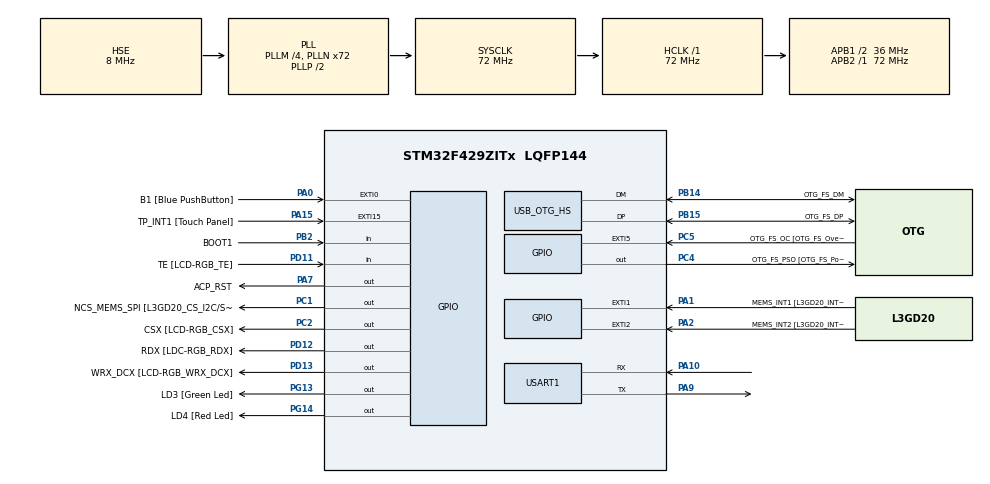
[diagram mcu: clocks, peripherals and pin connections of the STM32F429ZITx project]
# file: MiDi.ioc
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FREERTOS.Tasks01=defaultTask,0,128,StartDefaultTask,Default,NULL
Mcu.Family=STM32F4
Mcu.Name=STM32F429ZITx
Mcu.Package=LQFP144
NVIC.OTG_HS_IRQn=true\:5\:0\:false\:false\:true\:true\:false
NVIC.PriorityGroup=NVIC_PRIORITYGROUP_4
NVIC.TIM6_DAC_IRQn=true\:0\:0\:false\:false\:true\:false\:false
NVIC.TimeBase=TIM6_DAC_IRQn
NVIC.TimeBaseIP=TIM6
PA0/WKUP.GPIO_Label=B1 [Blue PushButton]
PA0/WKUP.GPIO_ModeDefaultEXTI=GPIO_MODE_EVT_RISING
PA0/WKUP.GPIO_PuPd=GPIO_NOPULL
PA0/WKUP.Signal=GPXTI0
PA1.GPIO_Label=MEMS_INT1 [L3GD20_INT1]
PA1.GPIO_ModeDefaultEXTI=GPIO_MODE_EVT_RISING
PA1.GPIO_PuPd=GPIO_NOPULL
PA1.Signal=GPXTI1
PA10.Mode=Asynchronous
PA10.Signal=USART1_RX
PA11.GPIO_Label=R4
PA11.GPIO_Mode=GPIO_MODE_AF_PP
PA11.GPIO_PuPd=GPIO_NOPULL
PA11.GPIO_Speed=GPIO_SPEED_FREQ_LOW
PA11.Signal=LTDC_R4
PA12.GPIO_Label=R5
PA12.GPIO_Mode=GPIO_MODE_AF_PP
PA12.GPIO_PuPd=GPIO_NOPULL
PA12.GPIO_Speed=GPIO_SPEED_FREQ_LOW
PA12.Signal=LTDC_R5
PA13.GPIO_Label=SWDIO
PA13.Mode=Serial_Wire
PA13.Signal=SYS_JTMS-SWDIO
PA14.GPIO_Label=SWCLK
PA14.Mode=Serial_Wire
PA14.Signal=SYS_JTCK-SWCLK
PA15.GPIO_Label=TP_INT1 [Touch Panel]
PA15.GPIO_ModeDefaultEXTI=GPIO_MODE_EVT_RISING
PA15.GPIO_PuPd=GPIO_NOPULL
PA15.Signal=GPXTI15
PA2.GPIO_Label=MEMS_INT2 [L3GD20_INT2]
PA2.GPIO_ModeDefaultEXTI=GPIO_MODE_EVT_RISING
PA2.GPIO_PuPd=GPIO_NOPULL
PA2.Signal=GPXTI2
PA3.GPIO_Label=B5
PA3.GPIO_Mode=GPIO_MODE_AF_PP
PA3.GPIO_PuPd=GPIO_NOPULL
PA3.GPIO_Speed=GPIO_SPEED_FREQ_LOW
PA3.Signal=LTDC_B5
PA4.GPIO_Label=VSYNC
PA4.GPIO_Mode=GPIO_MODE_AF_PP
PA4.GPIO_PuPd=GPIO_NOPULL
PA4.GPIO_Speed=GPIO_SPEED_FREQ_LOW
PA4.Signal=LTDC_VSYNC
PA6.GPIO_Label=G2
PA6.GPIO_Mode=GPIO_MODE_AF_PP
PA6.GPIO_PuPd=GPIO_NOPULL
PA6.GPIO_Speed=GPIO_SPEED_FREQ_LOW
PA6.Signal=LTDC_G2
PA7.GPIO_Label=ACP_RST
PA7.GPIO_Mode=GPIO_MODE_OUTPUT_PP
PA7.GPIO_PuPd=GPIO_NOPULL
PA7.GPIO_Speed=GPIO_SPEED_FREQ_LOW
PA7.Signal=GPIO_Output
PA8.GPIO_Label=I2C3_SCL [ACP/RF_SCL]
PA8.GPIO_Mode=GPIO_MODE_AF_OD
PA8.GPIO_PuPd=GPIO_NOPULL
PA8.GPIO_Speed=GPIO_SPEED_FREQ_LOW
PA8.Signal=I2C3_SCL
PA9.Mode=Asynchronous
PA9.Signal=USART1_TX
PB0.GPIO_Label=R3
PB0.GPIO_Mode=GPIO_MODE_AF_PP
PB0.GPIO_PuPd=GPIO_NOPULL
PB0.GPIO_Speed=GPIO_SPEED_FREQ_LOW
PB0.Signal=LTDC_R3
PB1.GPIO_Label=R6
PB1.GPIO_Mode=GPIO_MODE_AF_PP
PB1.GPIO_PuPd=GPIO_NOPULL
PB1.GPIO_Speed=GPIO_SPEED_FREQ_LOW
PB1.Signal=LTDC_R6
PB10.GPIO_Label=G4
PB10.GPIO_Mode=GPIO_MODE_AF_PP
PB10.GPIO_PuPd=GPIO_NOPULL
PB10.GPIO_Speed=GPIO_SPEED_FREQ_LOW
PB10.Signal=LTDC_G4
PB11.GPIO_Label=G5
PB11.GPIO_Mode=GPIO_MODE_AF_PP
PB11.GPIO_PuPd=GPIO_NOPULL
PB11.GPIO_Speed=GPIO_SPEED_FREQ_LOW
PB11.Signal=LTDC_G5
PB12.GPIO_Label=OTG_FS_ID
PB12.GPIO_Mode=GPIO_MODE_AF_PP
PB12.GPIO_PuPd=GPIO_NOPULL
PB12.GPIO_Speed=GPIO_SPEED_FREQ_LOW
PB12.Signal=USB_OTG_HS_ID
PB13.GPIO_Label=VBUS_FS
PB13.GPIO_Mode=GPIO_MODE_INPUT
PB13.GPIO_PuPd=GPIO_NOPULL
PB13.Signal=USB_OTG_HS_VBUS
PB14.GPIO_Label=OTG_FS_DM
PB14.GPIO_Mode=GPIO_MODE_AF_PP
PB14.GPIO_PuPd=GPIO_NOPULL
PB14.GPIO_Speed=GPIO_SPEED_FREQ_LOW
PB14.Mode=Device_Only_FS
PB14.Signal=USB_OTG_HS_DM
PB15.GPIO_Label=OTG_FS_DP
PB15.GPIO_Mode=GPIO_MODE_AF_PP
PB15.GPIO_PuPd=GPIO_NOPULL
PB15.GPIO_Speed=GPIO_SPEED_FREQ_LOW
PB15.Mode=Device_Only_FS
PB15.Signal=USB_OTG_HS_DP
PB2/BOOT1.GPIO_Label=BOOT1
PB2/BOOT1.GPIO_Mode=GPIO_MODE_INPUT
PB2/BOOT1.GPIO_PuPd=GPIO_NOPULL
PB2/BOOT1.Signal=GPIO_Input
PB5.GPIO_Label=SDCKE1
PB5.GPIO_Mode=GPIO_MODE_AF_PP
PB5.GPIO_PuPd=GPIO_NOPULL
PB5.GPIO_Speed=GPIO_SPEED_FREQ_VERY_HIGH
PB5.Signal=FMC_SDCKE1
PB6.GPIO_Label=SDNE1 [SDRAM_CS]
PB6.GPIO_Mode=GPIO_MODE_AF_PP
PB6.GPIO_PuPd=GPIO_NOPULL
PB6.GPIO_Speed=GPIO_SPEED_FREQ_VERY_HIGH
PB6.Signal=FMC_SDNE1
PB8.GPIO_Label=B6
PB8.GPIO_Mode=GPIO_MODE_AF_PP
PB8.GPIO_PuPd=GPIO_NOPULL
PB8.GPIO_Speed=GPIO_SPEED_FREQ_LOW
PB8.Signal=LTDC_B6
PB9.GPIO_Label=B7
PB9.GPIO_Mode=GPIO_MODE_AF_PP
PB9.GPIO_PuPd=GPIO_NOPULL
PB9.GPIO_Speed=GPIO_SPEED_FREQ_LOW
PB9.Signal=LTDC_B7
PC0.GPIO_Label=SDNWE
PC0.GPIO_Mode=GPIO_MODE_AF_PP
PC0.GPIO_PuPd=GPIO_NOPULL
PC0.GPIO_Speed=GPIO_SPEED_FREQ_VERY_HIGH
PC0.Signal=FMC_SDNWE
PC1.GPIO_Label=NCS_MEMS_SPI [L3GD20_CS_I2C/SPI]
PC1.GPIO_Mode=GPIO_MODE_OUTPUT_PP
PC1.GPIO_PuPd=GPIO_NOPULL
PC1.GPIO_Speed=GPIO_SPEED_FREQ_LOW
PC1.Signal=GPIO_Output
PC10.GPIO_Label=R2
PC10.GPIO_Mode=GPIO_MODE_AF_PP
PC10.GPIO_PuPd=GPIO_NOPULL
PC10.GPIO_Speed=GPIO_SPEED_FREQ_LOW
PC10.Signal=LTDC_R2
PC14/OSC32_IN.GPIO_Label=PC14-OSC32_IN
PC14/OSC32_IN.Signal=RCC_OSC32_IN
PC15/OSC32_OUT.GPIO_Label=PC15-OSC32_OUT
PC15/OSC32_OUT.Signal=RCC_OSC32_OUT
PC2.GPIO_Label=CSX [LCD-RGB_CSX]
PC2.GPIO_Mode=GPIO_MODE_OUTPUT_PP
PC2.GPIO_PuPd=GPIO_NOPULL
PC2.GPIO_Speed=GPIO_SPEED_FREQ_LOW
PC2.Signal=GPIO_Output
PC4.GPIO_Label=OTG_FS_PSO [OTG_FS_PowerSwitchOn]
PC4.GPIO_Mode=GPIO_MODE_OUTPUT_PP
PC4.GPIO_PuPd=GPIO_NOPULL
PC4.GPIO_Speed=GPIO_SPEED_FREQ_LOW
PC4.Signal=GPIO_Output
PC5.GPIO_Label=OTG_FS_OC [OTG_FS_OverCurrent]
PC5.GPIO_ModeDefaultEXTI=GPIO_MODE_EVT_RISING
PC5.Signal=GPXTI5
PC6.GPIO_Label=HSYNC
PC6.GPIO_Mode=GPIO_MODE_AF_PP
PC6.GPIO_PuPd=GPIO_NOPULL
PC6.GPIO_Speed=GPIO_SPEED_FREQ_LOW
PC6.Signal=LTDC_HSYNC
PC7.GPIO_Label=G6
PC7.GPIO_Mode=GPIO_MODE_AF_PP
PC7.GPIO_PuPd=GPIO_NOPULL
PC7.GPIO_Speed=GPIO_SPEED_FREQ_LOW
PC7.Signal=LTDC_G6
PC9.GPIO_Label=I2C3_SDA [ACP/RF_SDA]
PC9.GPIO_Mode=GPIO_MODE_AF_OD
PC9.GPIO_PuPd=GPIO_NOPULL
PC9.GPIO_Speed=GPIO_SPEED_FREQ_LOW
PC9.Signal=I2C3_SDA
PD0.GPIO_Label=D2
PD0.GPIO_Mode=GPIO_MODE_AF_PP
PD0.GPIO_PuPd=GPIO_NOPULL
PD0.GPIO_Speed=GPIO_SPEED_FREQ_VERY_HIGH
PD0.Signal=FMC_D2_DA2
PD1.GPIO_Label=D3
PD1.GPIO_Mode=GPIO_MODE_AF_PP
PD1.GPIO_PuPd=GPIO_NOPULL
PD1.GPIO_Speed=GPIO_SPEED_FREQ_VERY_HIGH
PD1.Signal=FMC_D3_DA3
PD10.GPIO_Label=D15
PD10.GPIO_Mode=GPIO_MODE_AF_PP
PD10.GPIO_PuPd=GPIO_NOPULL
PD10.GPIO_Speed=GPIO_SPEED_FREQ_VERY_HIGH
PD10.Signal=FMC_D15_DA15
PD11.GPIO_Label=TE [LCD-RGB_TE]
PD11.GPIO_Mode=GPIO_MODE_INPUT
PD11.GPIO_PuPd=GPIO_NOPULL
PD11.Signal=GPIO_Input
PD12.GPIO_Label=RDX [LDC-RGB_RDX]
PD12.GPIO_Mode=GPIO_MODE_OUTPUT_PP
PD12.GPIO_PuPd=GPIO_NOPULL
PD12.GPIO_Speed=GPIO_SPEED_FREQ_LOW
PD12.Signal=GPIO_Output
PD13.GPIO_Label=WRX_DCX [LCD-RGB_WRX_DCX]
PD13.GPIO_Mode=GPIO_MODE_OUTPUT_PP
PD13.GPIO_PuPd=GPIO_NOPULL
PD13.GPIO_Speed=GPIO_SPEED_FREQ_LOW
PD13.Signal=GPIO_Output
PD14.GPIO_Label=D0
PD14.GPIO_Mode=GPIO_MODE_AF_PP
PD14.GPIO_PuPd=GPIO_NOPULL
PD14.GPIO_Speed=GPIO_SPEED_FREQ_VERY_HIGH
PD14.Signal=FMC_D0_DA0
PD15.GPIO_Label=D1
PD15.GPIO_Mode=GPIO_MODE_AF_PP
PD15.GPIO_PuPd=GPIO_NOPULL
PD15.GPIO_Speed=GPIO_SPEED_FREQ_VERY_HIGH
PD15.Signal=FMC_D1_DA1
PD3.GPIO_Label=G7
PD3.GPIO_Mode=GPIO_MODE_AF_PP
PD3.GPIO_PuPd=GPIO_NOPULL
PD3.GPIO_Speed=GPIO_SPEED_FREQ_LOW
PD3.Signal=LTDC_G7
PD6.GPIO_Label=B2
PD6.GPIO_Mode=GPIO_MODE_AF_PP
PD6.GPIO_PuPd=GPIO_NOPULL
PD6.GPIO_Speed=GPIO_SPEED_FREQ_LOW
PD6.Signal=LTDC_B2
PD8.GPIO_Label=D13
PD8.GPIO_Mode=GPIO_MODE_AF_PP
PD8.GPIO_PuPd=GPIO_NOPULL
PD8.GPIO_Speed=GPIO_SPEED_FREQ_VERY_HIGH
PD8.Signal=FMC_D13_DA13
PD9.GPIO_Label=D14
PD9.GPIO_Mode=GPIO_MODE_AF_PP
PD9.GPIO_PuPd=GPIO_NOPULL
PD9.GPIO_Speed=GPIO_SPEED_FREQ_VERY_HIGH
PD9.Signal=FMC_D14_DA14
PE0.GPIO_Label=NBL0 [SDRAM_LDQM]
PE0.GPIO_Mode=GPIO_MODE_AF_PP
PE0.GPIO_PuPd=GPIO_NOPULL
PE0.GPIO_Speed=GPIO_SPEED_FREQ_VERY_HIGH
PE0.Signal=FMC_NBL0
PE1.GPIO_Label=NBL1 [SDRAM_UDQM]
PE1.GPIO_Mode=GPIO_MODE_AF_PP
PE1.GPIO_PuPd=GPIO_NOPULL
PE1.GPIO_Speed=GPIO_SPEED_FREQ_VERY_HIGH
PE1.Signal=FMC_NBL1
PE10.GPIO_Label=D7
PE10.GPIO_Mode=GPIO_MODE_AF_PP
PE10.GPIO_PuPd=GPIO_NOPULL
PE10.GPIO_Speed=GPIO_SPEED_FREQ_VERY_HIGH
PE10.Signal=FMC_D7_DA7
PE11.GPIO_Label=D8
PE11.GPIO_Mode=GPIO_MODE_AF_PP
PE11.GPIO_PuPd=GPIO_NOPULL
PE11.GPIO_Speed=GPIO_SPEED_FREQ_VERY_HIGH
PE11.Signal=FMC_D8_DA8
PE12.GPIO_Label=D9
PE12.GPIO_Mode=GPIO_MODE_AF_PP
PE12.GPIO_PuPd=GPIO_NOPULL
PE12.GPIO_Speed=GPIO_SPEED_FREQ_VERY_HIGH
PE12.Signal=FMC_D9_DA9
PE13.GPIO_Label=D10
PE13.GPIO_Mode=GPIO_MODE_AF_PP
PE13.GPIO_PuPd=GPIO_NOPULL
PE13.GPIO_Speed=GPIO_SPEED_FREQ_VERY_HIGH
PE13.Signal=FMC_D10_DA10
PE14.GPIO_Label=D11
PE14.GPIO_Mode=GPIO_MODE_AF_PP
PE14.GPIO_PuPd=GPIO_NOPULL
PE14.GPIO_Speed=GPIO_SPEED_FREQ_VERY_HIGH
PE14.Signal=FMC_D11_DA11
PE15.GPIO_Label=D12
PE15.GPIO_Mode=GPIO_MODE_AF_PP
PE15.GPIO_PuPd=GPIO_NOPULL
PE15.GPIO_Speed=GPIO_SPEED_FREQ_VERY_HIGH
PE15.Signal=FMC_D12_DA12
PE7.GPIO_Label=D4
PE7.GPIO_Mode=GPIO_MODE_AF_PP
PE7.GPIO_PuPd=GPIO_NOPULL
PE7.GPIO_Speed=GPIO_SPEED_FREQ_VERY_HIGH
PE7.Signal=FMC_D4_DA4
PE8.GPIO_Label=D5
PE8.GPIO_Mode=GPIO_MODE_AF_PP
PE8.GPIO_PuPd=GPIO_NOPULL
PE8.GPIO_Speed=GPIO_SPEED_FREQ_VERY_HIGH
PE8.Signal=FMC_D5_DA5
PE9.GPIO_Label=D6
PE9.GPIO_Mode=GPIO_MODE_AF_PP
PE9.GPIO_PuPd=GPIO_NOPULL
PE9.GPIO_Speed=GPIO_SPEED_FREQ_VERY_HIGH
PE9.Signal=FMC_D6_DA6
PF0.GPIO_Label=A0
PF0.GPIO_Mode=GPIO_MODE_AF_PP
PF0.GPIO_PuPd=GPIO_NOPULL
PF0.GPIO_Speed=GPIO_SPEED_FREQ_VERY_HIGH
PF0.Signal=FMC_A0
PF1.GPIO_Label=A1
PF1.GPIO_Mode=GPIO_MODE_AF_PP
PF1.GPIO_PuPd=GPIO_NOPULL
PF1.GPIO_Speed=GPIO_SPEED_FREQ_VERY_HIGH
PF1.Signal=FMC_A1
PF10.GPIO_Label=ENABLE [LCD-RGB_ENABLE]
PF10.GPIO_Mode=GPIO_MODE_AF_PP
PF10.GPIO_PuPd=GPIO_NOPULL
PF10.GPIO_Speed=GPIO_SPEED_FREQ_LOW
PF10.Signal=LTDC_DE
PF11.GPIO_Label=SDNRAS
PF11.GPIO_Mode=GPIO_MODE_AF_PP
PF11.GPIO_PuPd=GPIO_NOPULL
PF11.GPIO_Speed=GPIO_SPEED_FREQ_VERY_HIGH
PF11.Signal=FMC_SDNRAS
PF12.GPIO_Label=A6
PF12.GPIO_Mode=GPIO_MODE_AF_PP
PF12.GPIO_PuPd=GPIO_NOPULL
PF12.GPIO_Speed=GPIO_SPEED_FREQ_VERY_HIGH
PF12.Signal=FMC_A6
PF13.GPIO_Label=A7
PF13.GPIO_Mode=GPIO_MODE_AF_PP
PF13.GPIO_PuPd=GPIO_NOPULL
PF13.GPIO_Speed=GPIO_SPEED_FREQ_VERY_HIGH
PF13.Signal=FMC_A7
PF14.GPIO_Label=A8
PF14.GPIO_Mode=GPIO_MODE_AF_PP
PF14.GPIO_PuPd=GPIO_NOPULL
PF14.GPIO_Speed=GPIO_SPEED_FREQ_VERY_HIGH
PF14.Signal=FMC_A8
PF15.GPIO_Label=A9
PF15.GPIO_Mode=GPIO_MODE_AF_PP
PF15.GPIO_PuPd=GPIO_NOPULL
PF15.GPIO_Speed=GPIO_SPEED_FREQ_VERY_HIGH
PF15.Signal=FMC_A9
PF2.GPIO_Label=A2
PF2.GPIO_Mode=GPIO_MODE_AF_PP
PF2.GPIO_PuPd=GPIO_NOPULL
PF2.GPIO_Speed=GPIO_SPEED_FREQ_VERY_HIGH
PF2.Signal=FMC_A2
PF3.GPIO_Label=A3
PF3.GPIO_Mode=GPIO_MODE_AF_PP
PF3.GPIO_PuPd=GPIO_NOPULL
PF3.GPIO_Speed=GPIO_SPEED_FREQ_VERY_HIGH
PF3.Signal=FMC_A3
PF4.GPIO_Label=A4
PF4.GPIO_Mode=GPIO_MODE_AF_PP
PF4.GPIO_PuPd=GPIO_NOPULL
PF4.GPIO_Speed=GPIO_SPEED_FREQ_VERY_HIGH
PF4.Signal=FMC_A4
PF5.GPIO_Label=A5
PF5.GPIO_Mode=GPIO_MODE_AF_PP
PF5.GPIO_PuPd=GPIO_NOPULL
PF5.GPIO_Speed=GPIO_SPEED_FREQ_VERY_HIGH
PF5.Signal=FMC_A5
PF7.GPIO_Label=SPI5_SCK [L3GD20_SCL/SPC]
PF7.GPIO_Mode=GPIO_MODE_AF_PP
PF7.GPIO_PuPd=GPIO_NOPULL
PF7.GPIO_Speed=GPIO_SPEED_FREQ_LOW
PF7.Signal=SPI5_SCK
PF8.GPIO_Label=SPI5_MISO [L3GD20_SDO]
PF8.GPIO_Mode=GPIO_MODE_AF_PP
PF8.GPIO_PuPd=GPIO_NOPULL
PF8.GPIO_Speed=GPIO_SPEED_FREQ_LOW
PF8.Signal=SPI5_MISO
PF9.GPIO_Label=SPI5_MOSI [L3GD20_SDA/SDI/SDO]
PF9.GPIO_Mode=GPIO_MODE_AF_PP
PF9.GPIO_PuPd=GPIO_NOPULL
PF9.GPIO_Speed=GPIO_SPEED_FREQ_LOW
PF9.Signal=SPI5_MOSI
PG0.GPIO_Label=A10
PG0.GPIO_Mode=GPIO_MODE_AF_PP
PG0.GPIO_PuPd=GPIO_NOPULL
PG0.GPIO_Speed=GPIO_SPEED_FREQ_VERY_HIGH
PG0.Signal=FMC_A10
PG1.GPIO_Label=A11
PG1.GPIO_Mode=GPIO_MODE_AF_PP
PG1.GPIO_PuPd=GPIO_NOPULL
PG1.GPIO_Speed=GPIO_SPEED_FREQ_VERY_HIGH
PG1.Signal=FMC_A11
PG10.GPIO_Label=G3
PG10.GPIO_Mode=GPIO_MODE_AF_PP
PG10.GPIO_PuPd=GPIO_NOPULL
PG10.GPIO_Speed=GPIO_SPEED_FREQ_LOW
PG10.Signal=LTDC_G3
PG11.GPIO_Label=B3
PG11.GPIO_Mode=GPIO_MODE_AF_PP
PG11.GPIO_PuPd=GPIO_NOPULL
PG11.GPIO_Speed=GPIO_SPEED_FREQ_LOW
PG11.Signal=LTDC_B3
PG12.GPIO_Label=B4
PG12.GPIO_Mode=GPIO_MODE_AF_PP
PG12.GPIO_PuPd=GPIO_NOPULL
PG12.GPIO_Speed=GPIO_SPEED_FREQ_LOW
PG12.Signal=LTDC_B4
PG13.GPIO_Label=LD3 [Green Led]
PG13.GPIO_Mode=GPIO_MODE_OUTPUT_PP
PG13.GPIO_PuPd=GPIO_NOPULL
PG13.GPIO_Speed=GPIO_SPEED_FREQ_LOW
PG13.Signal=GPIO_Output
PG14.GPIO_Label=LD4 [Red Led]
PG14.GPIO_Mode=GPIO_MODE_OUTPUT_PP
PG14.GPIO_PuPd=GPIO_NOPULL
PG14.GPIO_Speed=GPIO_SPEED_FREQ_LOW
PG14.Signal=GPIO_Output
PG15.GPIO_Label=SDNCAS
PG15.GPIO_Mode=GPIO_MODE_AF_PP
PG15.GPIO_PuPd=GPIO_NOPULL
PG15.GPIO_Speed=GPIO_SPEED_FREQ_VERY_HIGH
PG15.Signal=FMC_SDNCAS
PG4.GPIO_Label=BA0
PG4.GPIO_Mode=GPIO_MODE_AF_PP
PG4.GPIO_PuPd=GPIO_NOPULL
PG4.GPIO_Speed=GPIO_SPEED_FREQ_VERY_HIGH
PG4.Signal=FMC_A14_BA0
PG5.GPIO_Label=BA1
PG5.GPIO_Mode=GPIO_MODE_AF_PP
PG5.GPIO_PuPd=GPIO_NOPULL
PG5.GPIO_Speed=GPIO_SPEED_FREQ_VERY_HIGH
PG5.Signal=FMC_A15_BA1
PG6.GPIO_Label=R7
PG6.GPIO_Mode=GPIO_MODE_AF_PP
PG6.GPIO_PuPd=GPIO_NOPULL
PG6.GPIO_Speed=GPIO_SPEED_FREQ_LOW
PG6.Signal=LTDC_R7
PG7.GPIO_Label=DOTCLK [LCT-RGB_DOTCLK]
PG7.GPIO_Mode=GPIO_MODE_AF_PP
PG7.GPIO_PuPd=GPIO_NOPULL
PG7.GPIO_Speed=GPIO_SPEED_FREQ_LOW
PG7.Signal=LTDC_CLK
PG8.GPIO_Label=SDCLK
PG8.GPIO_Mode=GPIO_MODE_AF_PP
PG8.GPIO_PuPd=GPIO_NOPULL
PG8.GPIO_Speed=GPIO_SPEED_FREQ_VERY_HIGH
PG8.Signal=FMC_SDCLK
PH0/OSC_IN.GPIO_Label=PH0-OSC_IN
PH0/OSC_IN.Mode=HSE-External-Oscillator
PH0/OSC_IN.Signal=RCC_OSC_IN
PH1/OSC_OUT.GPIO_Label=PH1-OSC_OUT
PH1/OSC_OUT.Mode=HSE-External-Oscillator
PH1/OSC_OUT.Signal=RCC_OSC_OUT
ProjectManager.HeapSize=0x200
ProjectManager.StackSize=0x400
ProjectManager.TargetToolchain=Makefile
RCC.48MHZClocksFreq_Value=48000000
RCC.AHBFreq_Value=72000000
RCC.APB1CLKDivider=RCC_HCLK_DIV2
RCC.APB1Freq_Value=36000000
RCC.APB1TimFreq_Value=72000000
RCC.APB2Freq_Value=72000000
RCC.APB2TimFreq_Value=72000000
RCC.CortexFreq_Value=72000000
RCC.HCLKFreq_Value=72000000
RCC.HSE_VALUE=8000000
RCC.HSI_VALUE=16000000
RCC.LSE_VALUE=32768
RCC.PLLM=4
RCC.PLLN=72
RCC.PLLQ=3
RCC.SYSCLKFreq_VALUE=72000000
RCC.SYSCLKSource=RCC_SYSCLKSOURCE_PLLCLK
RCC.VCOOutputFreq_Value=144000000
SH.FMC_A0.0=FMC_A0
SH.FMC_A1.0=FMC_A1
SH.FMC_A10.0=FMC_A10
SH.FMC_A11.0=FMC_A11
SH.FMC_A14_BA0.0=FMC_BA0
SH.FMC_A15_BA1.0=FMC_BA1
SH.FMC_A2.0=FMC_A2
SH.FMC_A3.0=FMC_A3
SH.FMC_A4.0=FMC_A4
SH.FMC_A5.0=FMC_A5
SH.FMC_A6.0=FMC_A6
SH.FMC_A7.0=FMC_A7
SH.FMC_A8.0=FMC_A8
SH.FMC_A9.0=FMC_A9
SH.FMC_D0_DA0.0=FMC_D0
SH.FMC_D10_DA10.0=FMC_D10
SH.FMC_D11_DA11.0=FMC_D11
SH.FMC_D12_DA12.0=FMC_D12
SH.FMC_D13_DA13.0=FMC_D13
SH.FMC_D14_DA14.0=FMC_D14
SH.FMC_D15_DA15.0=FMC_D15
SH.FMC_D1_DA1.0=FMC_D1
SH.FMC_D2_DA2.0=FMC_D2
SH.FMC_D3_DA3.0=FMC_D3
SH.FMC_D4_DA4.0=FMC_D4
SH.FMC_D5_DA5.0=FMC_D5
SH.FMC_D6_DA6.0=FMC_D6
SH.FMC_D7_DA7.0=FMC_D7
SH.FMC_D8_DA8.0=FMC_D8
SH.FMC_D9_DA9.0=FMC_D9
SH.FMC_NBL0.0=FMC_NBL0
SH.FMC_NBL1.0=FMC_NBL1
SH.FMC_SDCLK.0=FMC_SDCLK
SH.FMC_SDNCAS.0=FMC_SDNCAS
SH.FMC_SDNRAS.0=FMC_SDNRAS
SH.FMC_SDNWE.0=FMC_SDNWE
USART1.VirtualMode=VM_ASYNC
USB_DEVICE.CLASS_NAME_HS=CDC
USB_DEVICE.VirtualMode-CDC_HS=Cdc
USB_DEVICE.VirtualModeHS=Cdc_HS
USB_OTG_HS.VirtualMode-Device_Only_FS=Device_Only_FS
VP_FREERTOS_VS_ENABLE.Mode=Enabled
VP_SYS_VS_tim6.Mode=TIM6
VP_USB_DEVICE_VS_USB_DEVICE_CDC_HS.Mode=CDC_HS
board=STM32F429I-DISCO

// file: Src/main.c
/**
  ******************************************************************************
  * File Name          : main.c
  * Description        : Main program body
  ******************************************************************************
  * This notice applies to any and all portions of this file
  * that are not between comment pairs USER CODE BEGIN and
  * USER CODE END. Other portions of this file, whether
  * inserted by the user or by software development tools
  * are owned by their respective copyright owners.
  *
  * Copyright (c) 2017 STMicroelectronics International N.V.
  * All rights reserved.
  *
  * Redistribution and use in source and binary forms, with or without
  * modification, are permitted, provided that the following conditions are met:
  *
  * 1. Redistribution of source code must retain the above copyright notice,
  *    this list of conditions and the following disclaimer.
  * 2. Redistributions in binary form must reproduce the above copyright notice,
  *    this list of conditions and the following disclaimer in the documentation
  *    and/or other materials provided with the distribution.
  * 3. Neither the name of STMicroelectronics nor the names of other
  *    contributors to this software may be used to endorse or promote products
  *    derived from this software without specific written permission.
  * 4. This software, including modifications and/or derivative works of this
  *    software, must execute solely and exclusively on microcontroller or
  *    microprocessor devices manufactured by or for STMicroelectronics.
  * 5. Redistribution and use of this software other than as permitted under
  *    this license is void and will automatically terminate your rights under
  *    this license.
  *
  * THIS SOFTWARE IS PROVIDED BY STMICROELECTRONICS AND CONTRIBUTORS "AS IS"
  * AND ANY EXPRESS, IMPLIED OR STATUTORY WARRANTIES, INCLUDING, BUT NOT
  * LIMITED TO, THE IMPLIED WARRANTIES OF MERCHANTABILITY, FITNESS FOR A
  * PARTICULAR PURPOSE AND NON-INFRINGEMENT OF THIRD PARTY INTELLECTUAL PROPERTY
  * RIGHTS ARE DISCLAIMED TO THE FULLEST EXTENT PERMITTED BY LAW. IN NO EVENT
  * SHALL STMICROELECTRONICS OR CONTRIBUTORS BE LIABLE FOR ANY DIRECT, INDIRECT,
  * INCIDENTAL, SPECIAL, EXEMPLARY, OR CONSEQUENTIAL DAMAGES (INCLUDING, BUT NOT
  * LIMITED TO, PROCUREMENT OF SUBSTITUTE GOODS OR SERVICES; LOSS OF USE, DATA,
  * OR PROFITS; OR BUSINESS INTERRUPTION) HOWEVER CAUSED AND ON ANY THEORY OF
  * LIABILITY, WHETHER IN CONTRACT, STRICT LIABILITY, OR TORT (INCLUDING
  * NEGLIGENCE OR OTHERWISE) ARISING IN ANY WAY OUT OF THE USE OF THIS SOFTWARE,
  * EVEN IF ADVISED OF THE POSSIBILITY OF SUCH DAMAGE.
  *
  ******************************************************************************
  */

#include "main.h"
#include "stm32f4xx_hal.h"
#include "cmsis_os.h"
#include "usb_device.h"
#include "usbd_cdc_if.h"

/* USER CODE BEGIN Includes */
//#include "usbd_cdc_if.h" // Plik bedacy interfejsem uzytkownika do kontrolera USB
/* USER CODE END Includes */

UART_HandleTypeDef huart1;

osThreadId defaultTaskHandle;

/* USER CODE BEGIN PV */
/* Private variables ---------------------------------------------------------*/

/* USER CODE END PV */
uint8_t DataToSend[20]; // data buffer
uint16_t MessageLength = 0;
void SystemClock_Config(void);
static void MX_GPIO_Init(void);
static void MX_USART1_UART_Init(void);
void StartDefaultTask(void const * argument);
static void print_chr(char);
ssize_t _write_r(struct _reent*, int, const void*, size_t);
int8_t CDC_Receive_FS (uint8_t*, uint32_t*);
char readkey(void);

/////////////////////////////////////////////////////////////////////////////////////////////
//our code begin
void setupBassGuitar(uint8_t data_byte_1_instrument){
    uint8_t systemExlusiveSyncMessage=0xF0,syncByte=0xF0; //work around problem with 2 byte messages

    uint8_t status_byte_instrument=0xC2;//MIDI channel 2

    osDelay(10);
    MessageLength = sprintf(DataToSend, "%c%c%c",status_byte_instrument,data_byte_1_instrument,0x02);
    CDC_Transmit_HS(DataToSend, MessageLength);

}

uint8_t setupStatusByte(uint8_t keyStatus){
    if(keyStatus == 0){//note on
        return 0x92;
    }else{//note off
        return 0x82;
    }
}

uint8_t setupDataByte2(uint8_t row,uint8_t column){
    return 52 + column + 5*row;
}

void midiConvert()
{
  uint8_t data_byte_1_instrument=0x21;//bass guitar and starting point

  /* USER CODE BEGIN 5 */
  /* Infinite loop */
  for(;;)
  {

    uint8_t keyStatus=0, row=0, column=0,system=0;

    uint8_t c=0;
    while(c==0){
        c=readkey();  //readkey is non blocking function
        osDelay(5);

    }
    c-=1;//real c = c - 1 because there is problem when c == 0

    /*
    c=ABCCDDDDb
    A   -> if A == 1 it's system message
           else row and column on guitar
    B   -> key on or off

    CC  -> row index
    DDDD-> column index
    */
    uint8_t syncKeyStatusMask = 0x80;
    uint8_t keyStatusMask = 0x40;
    uint8_t rowMask = 0x30;
    uint8_t columnMask = 0xF;

    system = (c & syncKeyStatusMask);
    keyStatus = c & keyStatusMask;
    row = c & rowMask;
    column = c & columnMask;
    row = row >> 4;

    //0x80 -> instrument++
    //0x81 -> instrument--

    if(system!=0){
	if(c == (uint8_t)0x80)

            data_byte_1_instrument=(data_byte_1_instrument+1)%0x80;
        else if(c == (uint8_t)0x81)
            data_byte_1_instrument=(data_byte_1_instrument-1)%0x80;
        setupBassGuitar(data_byte_1_instrument);
        continue;
    }

    uint8_t status_byte=0;
    uint8_t data_byte_1=0;
    uint8_t data_byte_2=0x7F;

    status_byte = setupStatusByte(keyStatus);
    data_byte_1 = setupDataByte2(row, column);

    MessageLength = sprintf(DataToSend, "%c%c%c",status_byte,data_byte_1,data_byte_2);
    CDC_Transmit_HS(DataToSend, MessageLength);

  }

}

int main(void)
{

  /* USER CODE BEGIN 1 */

  /* USER CODE END 1 */

  /* MCU Configuration----------------------------------------------------------*/

  /* Reset of all peripherals, Initializes the Flash interface and the Systick. */
  HAL_Init();

  /* USER CODE BEGIN Init */

  /* USER CODE END Init */

  /* Configure the system clock */
  SystemClock_Config();

  /* USER CODE BEGIN SysInit */

  /* USER CODE END SysInit */

  /* Initialize all configured peripherals */
  MX_GPIO_Init();
  MX_USART1_UART_Init();

  /* USER CODE BEGIN 2 */

  /* USER CODE END 2 */

  /* USER CODE BEGIN RTOS_MUTEX */
  /* add mutexes, ... */
  /* USER CODE END RTOS_MUTEX */

  /* USER CODE BEGIN RTOS_SEMAPHORES */
  /* add semaphores, ... */
  /* USER CODE END RTOS_SEMAPHORES */

  /* USER CODE BEGIN RTOS_TIMERS */
  /* start timers, add new ones, ... */
  /* USER CODE END RTOS_TIMERS */

  /* Create the thread(s) */
  /* definition and creation of defaultTask */
  osThreadDef(defaultTask, StartDefaultTask, osPriorityNormal, 0, 128);
  defaultTaskHandle = osThreadCreate(osThread(defaultTask), NULL);

  /* USER CODE BEGIN RTOS_THREADS */
  /* add threads, ... */
  /* USER CODE END RTOS_THREADS */

  /* USER CODE BEGIN RTOS_QUEUES */
  /* add queues, ... */
  /* USER CODE END RTOS_QUEUES */

  /* Start scheduler */
  osKernelStart();

  /* We should never get here as control is now taken by the scheduler */

  /* Infinite loop */
  /* USER CODE BEGIN WHILE */
  while (1)
  {
  /* USER CODE END WHILE */

  /* USER CODE BEGIN 3 */

  }
  /* USER CODE END 3 */

}

/** System Clock Configuration
*/
void SystemClock_Config(void)
{

  RCC_OscInitTypeDef RCC_OscInitStruct;
  RCC_ClkInitTypeDef RCC_ClkInitStruct;

    /**Configure the main internal regulator output voltage
    */
  __HAL_RCC_PWR_CLK_ENABLE();

  __HAL_PWR_VOLTAGESCALING_CONFIG(PWR_REGULATOR_VOLTAGE_SCALE3);

    /**Initializes the CPU, AHB and APB busses clocks
    */
  RCC_OscInitStruct.OscillatorType = RCC_OSCILLATORTYPE_HSE;
  RCC_OscInitStruct.HSEState = RCC_HSE_ON;
  RCC_OscInitStruct.PLL.PLLState = RCC_PLL_ON;
  RCC_OscInitStruct.PLL.PLLSource = RCC_PLLSOURCE_HSE;
  RCC_OscInitStruct.PLL.PLLM = 4;
  RCC_OscInitStruct.PLL.PLLN = 72;
  RCC_OscInitStruct.PLL.PLLP = RCC_PLLP_DIV2;
  RCC_OscInitStruct.PLL.PLLQ = 3;
  if (HAL_RCC_OscConfig(&RCC_OscInitStruct) != HAL_OK)
  {
    _Error_Handler(__FILE__, __LINE__);
  }

    /**Initializes the CPU, AHB and APB busses clocks
    */
  RCC_ClkInitStruct.ClockType = RCC_CLOCKTYPE_HCLK|RCC_CLOCKTYPE_SYSCLK
                              |RCC_CLOCKTYPE_PCLK1|RCC_CLOCKTYPE_PCLK2;
  RCC_ClkInitStruct.SYSCLKSource = RCC_SYSCLKSOURCE_PLLCLK;
  RCC_ClkInitStruct.AHBCLKDivider = RCC_SYSCLK_DIV1;
  RCC_ClkInitStruct.APB1CLKDivider = RCC_HCLK_DIV2;
  RCC_ClkInitStruct.APB2CLKDivider = RCC_HCLK_DIV1;

  if (HAL_RCC_ClockConfig(&RCC_ClkInitStruct, FLASH_LATENCY_2) != HAL_OK)
  {
    _Error_Handler(__FILE__, __LINE__);
  }

    /**Configure the Systick interrupt time
    */
  HAL_SYSTICK_Config(HAL_RCC_GetHCLKFreq()/1000);

    /**Configure the Systick
    */
  HAL_SYSTICK_CLKSourceConfig(SYSTICK_CLKSOURCE_HCLK);

  /* SysTick_IRQn interrupt configuration */
  HAL_NVIC_SetPriority(SysTick_IRQn, 15, 0);
}

/* USART1 init function */
static void MX_USART1_UART_Init(void)
{

  huart1.Instance = USART1;
  huart1.Init.BaudRate = 115200;
  huart1.Init.WordLength = UART_WORDLENGTH_8B;
  huart1.Init.StopBits = UART_STOPBITS_1;
  huart1.Init.Parity = UART_PARITY_NONE;
  huart1.Init.Mode = UART_MODE_TX_RX;
  huart1.Init.HwFlowCtl = UART_HWCONTROL_NONE;
  huart1.Init.OverSampling = UART_OVERSAMPLING_16;
  if (HAL_UART_Init(&huart1) != HAL_OK)
  {
    _Error_Handler(__FILE__, __LINE__);
  }

}

/** Configure pins as
        * Analog
        * Input
        * Output
        * EVENT_OUT
        * EXTI
     PF0   ------> FMC_A0
     PF1   ------> FMC_A1
     PF2   ------> FMC_A2
     PF3   ------> FMC_A3
     PF4   ------> FMC_A4
     PF5   ------> FMC_A5
     PF7   ------> SPI5_SCK
     PF8   ------> SPI5_MISO
     PF9   ------> SPI5_MOSI
     PF10   ------> LTDC_DE
     PC0   ------> FMC_SDNWE
     PA3   ------> LTDC_B5
     PA4   ------> LTDC_VSYNC
     PA6   ------> LTDC_G2
     PB0   ------> LTDC_R3
     PB1   ------> LTDC_R6
     PF11   ------> FMC_SDNRAS
     PF12   ------> FMC_A6
     PF13   ------> FMC_A7
     PF14   ------> FMC_A8
     PF15   ------> FMC_A9
     PG0   ------> FMC_A10
     PG1   ------> FMC_A11
     PE7   ------> FMC_D4_DA4
     PE8   ------> FMC_D5_DA5
     PE9   ------> FMC_D6_DA6
     PE10   ------> FMC_D7_DA7
     PE11   ------> FMC_D8_DA8
     PE12   ------> FMC_D9_DA9
     PE13   ------> FMC_D10_DA10
     PE14   ------> FMC_D11_DA11
     PE15   ------> FMC_D12_DA12
     PB10   ------> LTDC_G4
     PB11   ------> LTDC_G5
     PD8   ------> FMC_D13_DA13
     PD9   ------> FMC_D14_DA14
     PD10   ------> FMC_D15_DA15
     PD14   ------> FMC_D0_DA0
     PD15   ------> FMC_D1_DA1
     PG4   ------> FMC_A14_BA0
     PG5   ------> FMC_A15_BA1
     PG6   ------> LTDC_R7
     PG7   ------> LTDC_CLK
     PG8   ------> FMC_SDCLK
     PC6   ------> LTDC_HSYNC
     PC7   ------> LTDC_G6
     PC9   ------> I2C3_SDA
     PA8   ------> I2C3_SCL
     PA11   ------> LTDC_R4
     PA12   ------> LTDC_R5
     PC10   ------> LTDC_R2
     PD0   ------> FMC_D2_DA2
     PD1   ------> FMC_D3_DA3
     PD3   ------> LTDC_G7
     PD6   ------> LTDC_B2
     PG10   ------> LTDC_G3
     PG11   ------> LTDC_B3
     PG12   ------> LTDC_B4
     PG15   ------> FMC_SDNCAS
     PB5   ------> FMC_SDCKE1
     PB6   ------> FMC_SDNE1
     PB8   ------> LTDC_B6
     PB9   ------> LTDC_B7
     PE0   ------> FMC_NBL0
     PE1   ------> FMC_NBL1
*/
static void MX_GPIO_Init(void)
{

  GPIO_InitTypeDef GPIO_InitStruct;

  /* GPIO Ports Clock Enable */
  __HAL_RCC_GPIOC_CLK_ENABLE();
  __HAL_RCC_GPIOF_CLK_ENABLE();
  __HAL_RCC_GPIOH_CLK_ENABLE();
  __HAL_RCC_GPIOA_CLK_ENABLE();
  __HAL_RCC_GPIOB_CLK_ENABLE();
  __HAL_RCC_GPIOG_CLK_ENABLE();
  __HAL_RCC_GPIOE_CLK_ENABLE();
  __HAL_RCC_GPIOD_CLK_ENABLE();

  /*Configure GPIO pin Output Level */
  HAL_GPIO_WritePin(GPIOC, NCS_MEMS_SPI_Pin|CSX_Pin|OTG_FS_PSO_Pin, GPIO_PIN_RESET);

  /*Configure GPIO pin Output Level */
  HAL_GPIO_WritePin(ACP_RST_GPIO_Port, ACP_RST_Pin, GPIO_PIN_RESET);

  /*Configure GPIO pin Output Level */
  HAL_GPIO_WritePin(GPIOD, RDX_Pin|WRX_DCX_Pin, GPIO_PIN_RESET);

  /*Configure GPIO pin Output Level */
  HAL_GPIO_WritePin(GPIOG, LD3_Pin|LD4_Pin, GPIO_PIN_RESET);

  /*Configure GPIO pins : A0_Pin A1_Pin A2_Pin A3_Pin
                           A4_Pin A5_Pin SDNRAS_Pin A6_Pin
                           A7_Pin A8_Pin A9_Pin */
  GPIO_InitStruct.Pin = A0_Pin|A1_Pin|A2_Pin|A3_Pin
                          |A4_Pin|A5_Pin|SDNRAS_Pin|A6_Pin
                          |A7_Pin|A8_Pin|A9_Pin;
  GPIO_InitStruct.Mode = GPIO_MODE_AF_PP;
  GPIO_InitStruct.Pull = GPIO_NOPULL;
  GPIO_InitStruct.Speed = GPIO_SPEED_FREQ_VERY_HIGH;
  GPIO_InitStruct.Alternate = GPIO_AF12_FMC;
  HAL_GPIO_Init(GPIOF, &GPIO_InitStruct);

  /*Configure GPIO pins : SPI5_SCK_Pin SPI5_MISO_Pin SPI5_MOSI_Pin */
  GPIO_InitStruct.Pin = SPI5_SCK_Pin|SPI5_MISO_Pin|SPI5_MOSI_Pin;
  GPIO_InitStruct.Mode = GPIO_MODE_AF_PP;
  GPIO_InitStruct.Pull = GPIO_NOPULL;
  GPIO_InitStruct.Speed = GPIO_SPEED_FREQ_LOW;
  GPIO_InitStruct.Alternate = GPIO_AF5_SPI5;
  HAL_GPIO_Init(GPIOF, &GPIO_InitStruct);

  /*Configure GPIO pin : ENABLE_Pin */
  GPIO_InitStruct.Pin = ENABLE_Pin;
  GPIO_InitStruct.Mode = GPIO_MODE_AF_PP;
  GPIO_InitStruct.Pull = GPIO_NOPULL;
  GPIO_InitStruct.Speed = GPIO_SPEED_FREQ_LOW;
  GPIO_InitStruct.Alternate = GPIO_AF14_LTDC;
  HAL_GPIO_Init(ENABLE_GPIO_Port, &GPIO_InitStruct);

  /*Configure GPIO pin : SDNWE_Pin */
  GPIO_InitStruct.Pin = SDNWE_Pin;
  GPIO_InitStruct.Mode = GPIO_MODE_AF_PP;
  GPIO_InitStruct.Pull = GPIO_NOPULL;
  GPIO_InitStruct.Speed = GPIO_SPEED_FREQ_VERY_HIGH;
  GPIO_InitStruct.Alternate = GPIO_AF12_FMC;
  HAL_GPIO_Init(SDNWE_GPIO_Port, &GPIO_InitStruct);

  /*Configure GPIO pins : NCS_MEMS_SPI_Pin CSX_Pin OTG_FS_PSO_Pin */
  GPIO_InitStruct.Pin = NCS_MEMS_SPI_Pin|CSX_Pin|OTG_FS_PSO_Pin;
  GPIO_InitStruct.Mode = GPIO_MODE_OUTPUT_PP;
  GPIO_InitStruct.Pull = GPIO_NOPULL;
  GPIO_InitStruct.Speed = GPIO_SPEED_FREQ_LOW;
  HAL_GPIO_Init(GPIOC, &GPIO_InitStruct);

  /*Configure GPIO pins : B1_Pin MEMS_INT1_Pin MEMS_INT2_Pin TP_INT1_Pin */
  GPIO_InitStruct.Pin = B1_Pin|MEMS_INT1_Pin|MEMS_INT2_Pin|TP_INT1_Pin;
  GPIO_InitStruct.Mode = GPIO_MODE_EVT_RISING;
  GPIO_InitStruct.Pull = GPIO_NOPULL;
  HAL_GPIO_Init(GPIOA, &GPIO_InitStruct);

  /*Configure GPIO pins : B5_Pin VSYNC_Pin G2_Pin R4_Pin
                           R5_Pin */
  GPIO_InitStruct.Pin = B5_Pin|VSYNC_Pin|G2_Pin|R4_Pin
                          |R5_Pin;
  GPIO_InitStruct.Mode = GPIO_MODE_AF_PP;
  GPIO_InitStruct.Pull = GPIO_NOPULL;
  GPIO_InitStruct.Speed = GPIO_SPEED_FREQ_LOW;
  GPIO_InitStruct.Alternate = GPIO_AF14_LTDC;
  HAL_GPIO_Init(GPIOA, &GPIO_InitStruct);

  /*Configure GPIO pin : ACP_RST_Pin */
  GPIO_InitStruct.Pin = ACP_RST_Pin;
  GPIO_InitStruct.Mode = GPIO_MODE_OUTPUT_PP;
  GPIO_InitStruct.Pull = GPIO_NOPULL;
  GPIO_InitStruct.Speed = GPIO_SPEED_FREQ_LOW;
  HAL_GPIO_Init(ACP_RST_GPIO_Port, &GPIO_InitStruct);

  /*Configure GPIO pin : OTG_FS_OC_Pin */
  GPIO_InitStruct.Pin = OTG_FS_OC_Pin;
  GPIO_InitStruct.Mode = GPIO_MODE_EVT_RISING;
  GPIO_InitStruct.Pull = GPIO_NOPULL;
  HAL_GPIO_Init(OTG_FS_OC_GPIO_Port, &GPIO_InitStruct);

  /*Configure GPIO pins : R3_Pin R6_Pin */
  GPIO_InitStruct.Pin = R3_Pin|R6_Pin;
  GPIO_InitStruct.Mode = GPIO_MODE_AF_PP;
  GPIO_InitStruct.Pull = GPIO_NOPULL;
  GPIO_InitStruct.Speed = GPIO_SPEED_FREQ_LOW;
  GPIO_InitStruct.Alternate = GPIO_AF9_LTDC;
  HAL_GPIO_Init(GPIOB, &GPIO_InitStruct);

  /*Configure GPIO pin : BOOT1_Pin */
  GPIO_InitStruct.Pin = BOOT1_Pin;
  GPIO_InitStruct.Mode = GPIO_MODE_INPUT;
  GPIO_InitStruct.Pull = GPIO_NOPULL;
  HAL_GPIO_Init(BOOT1_GPIO_Port, &GPIO_InitStruct);

  /*Configure GPIO pins : A10_Pin A11_Pin BA0_Pin BA1_Pin
                           SDCLK_Pin SDNCAS_Pin */
  GPIO_InitStruct.Pin = A10_Pin|A11_Pin|BA0_Pin|BA1_Pin
                          |SDCLK_Pin|SDNCAS_Pin;
  GPIO_InitStruct.Mode = GPIO_MODE_AF_PP;
  GPIO_InitStruct.Pull = GPIO_NOPULL;
  GPIO_InitStruct.Speed = GPIO_SPEED_FREQ_VERY_HIGH;
  GPIO_InitStruct.Alternate = GPIO_AF12_FMC;
  HAL_GPIO_Init(GPIOG, &GPIO_InitStruct);

  /*Configure GPIO pins : D4_Pin D5_Pin D6_Pin D7_Pin
                           D8_Pin D9_Pin D10_Pin D11_Pin
                           D12_Pin NBL0_Pin NBL1_Pin */
  GPIO_InitStruct.Pin = D4_Pin|D5_Pin|D6_Pin|D7_Pin
                          |D8_Pin|D9_Pin|D10_Pin|D11_Pin
                          |D12_Pin|NBL0_Pin|NBL1_Pin;
  GPIO_InitStruct.Mode = GPIO_MODE_AF_PP;
  GPIO_InitStruct.Pull = GPIO_NOPULL;
  GPIO_InitStruct.Speed = GPIO_SPEED_FREQ_VERY_HIGH;
  GPIO_InitStruct.Alternate = GPIO_AF12_FMC;
  HAL_GPIO_Init(GPIOE, &GPIO_InitStruct);

  /*Configure GPIO pins : G4_Pin G5_Pin B6_Pin B7_Pin */
  GPIO_InitStruct.Pin = G4_Pin|G5_Pin|B6_Pin|B7_Pin;
  GPIO_InitStruct.Mode = GPIO_MODE_AF_PP;
  GPIO_InitStruct.Pull = GPIO_NOPULL;
  GPIO_InitStruct.Speed = GPIO_SPEED_FREQ_LOW;
  GPIO_InitStruct.Alternate = GPIO_AF14_LTDC;
  HAL_GPIO_Init(GPIOB, &GPIO_InitStruct);

  /*Configure GPIO pins : D13_Pin D14_Pin D15_Pin D0_Pin
                           D1_Pin D2_Pin D3_Pin */
  GPIO_InitStruct.Pin = D13_Pin|D14_Pin|D15_Pin|D0_Pin
                          |D1_Pin|D2_Pin|D3_Pin;
  GPIO_InitStruct.Mode = GPIO_MODE_AF_PP;
  GPIO_InitStruct.Pull = GPIO_NOPULL;
  GPIO_InitStruct.Speed = GPIO_SPEED_FREQ_VERY_HIGH;
  GPIO_InitStruct.Alternate = GPIO_AF12_FMC;
  HAL_GPIO_Init(GPIOD, &GPIO_InitStruct);

  /*Configure GPIO pin : TE_Pin */
  GPIO_InitStruct.Pin = TE_Pin;
  GPIO_InitStruct.Mode = GPIO_MODE_INPUT;
  GPIO_InitStruct.Pull = GPIO_NOPULL;
  HAL_GPIO_Init(TE_GPIO_Port, &GPIO_InitStruct);

  /*Configure GPIO pins : RDX_Pin WRX_DCX_Pin */
  GPIO_InitStruct.Pin = RDX_Pin|WRX_DCX_Pin;
  GPIO_InitStruct.Mode = GPIO_MODE_OUTPUT_PP;
  GPIO_InitStruct.Pull = GPIO_NOPULL;
  GPIO_InitStruct.Speed = GPIO_SPEED_FREQ_LOW;
  HAL_GPIO_Init(GPIOD, &GPIO_InitStruct);

  /*Configure GPIO pins : R7_Pin DOTCLK_Pin B3_Pin */
  GPIO_InitStruct.Pin = R7_Pin|DOTCLK_Pin|B3_Pin;
  GPIO_InitStruct.Mode = GPIO_MODE_AF_PP;
  GPIO_InitStruct.Pull = GPIO_NOPULL;
  GPIO_InitStruct.Speed = GPIO_SPEED_FREQ_LOW;
  GPIO_InitStruct.Alternate = GPIO_AF14_LTDC;
  HAL_GPIO_Init(GPIOG, &GPIO_InitStruct);

  /*Configure GPIO pins : HSYNC_Pin G6_Pin R2_Pin */
  GPIO_InitStruct.Pin = HSYNC_Pin|G6_Pin|R2_Pin;
  GPIO_InitStruct.Mode = GPIO_MODE_AF_PP;
  GPIO_InitStruct.Pull = GPIO_NOPULL;
  GPIO_InitStruct.Speed = GPIO_SPEED_FREQ_LOW;
  GPIO_InitStruct.Alternate = GPIO_AF14_LTDC;
  HAL_GPIO_Init(GPIOC, &GPIO_InitStruct);

  /*Configure GPIO pin : I2C3_SDA_Pin */
  GPIO_InitStruct.Pin = I2C3_SDA_Pin;
  GPIO_InitStruct.Mode = GPIO_MODE_AF_OD;
  GPIO_InitStruct.Pull = GPIO_PULLUP;
  GPIO_InitStruct.Speed = GPIO_SPEED_FREQ_LOW;
  GPIO_InitStruct.Alternate = GPIO_AF4_I2C3;
  HAL_GPIO_Init(I2C3_SDA_GPIO_Port, &GPIO_InitStruct);

  /*Configure GPIO pin : I2C3_SCL_Pin */
  GPIO_InitStruct.Pin = I2C3_SCL_Pin;
  GPIO_InitStruct.Mode = GPIO_MODE_AF_OD;
  GPIO_InitStruct.Pull = GPIO_PULLUP;
  GPIO_InitStruct.Speed = GPIO_SPEED_FREQ_LOW;
  GPIO_InitStruct.Alternate = GPIO_AF4_I2C3;
  HAL_GPIO_Init(I2C3_SCL_GPIO_Port, &GPIO_InitStruct);

  /*Configure GPIO pins : G7_Pin B2_Pin */
  GPIO_InitStruct.Pin = G7_Pin|B2_Pin;
  GPIO_InitStruct.Mode = GPIO_MODE_AF_PP;
  GPIO_InitStruct.Pull = GPIO_NOPULL;
  GPIO_InitStruct.Speed = GPIO_SPEED_FREQ_LOW;
  GPIO_InitStruct.Alternate = GPIO_AF14_LTDC;
  HAL_GPIO_Init(GPIOD, &GPIO_InitStruct);

  /*Configure GPIO pins : G3_Pin B4_Pin */
  GPIO_InitStruct.Pin = G3_Pin|B4_Pin;
  GPIO_InitStruct.Mode = GPIO_MODE_AF_PP;
  GPIO_InitStruct.Pull = GPIO_NOPULL;
  GPIO_InitStruct.Speed = GPIO_SPEED_FREQ_LOW;
  GPIO_InitStruct.Alternate = GPIO_AF9_LTDC;
  HAL_GPIO_Init(GPIOG, &GPIO_InitStruct);

  /*Configure GPIO pins : LD3_Pin LD4_Pin */
  GPIO_InitStruct.Pin = LD3_Pin|LD4_Pin;
  GPIO_InitStruct.Mode = GPIO_MODE_OUTPUT_PP;
  GPIO_InitStruct.Pull = GPIO_NOPULL;
  GPIO_InitStruct.Speed = GPIO_SPEED_FREQ_LOW;
  HAL_GPIO_Init(GPIOG, &GPIO_InitStruct);

  /*Configure GPIO pins : SDCKE1_Pin SDNE1_Pin */
  GPIO_InitStruct.Pin = SDCKE1_Pin|SDNE1_Pin;
  GPIO_InitStruct.Mode = GPIO_MODE_AF_PP;
  GPIO_InitStruct.Pull = GPIO_NOPULL;
  GPIO_InitStruct.Speed = GPIO_SPEED_FREQ_VERY_HIGH;
  GPIO_InitStruct.Alternate = GPIO_AF12_FMC;
  HAL_GPIO_Init(GPIOB, &GPIO_InitStruct);

}

int8_t CDC_Receive_HS (uint8_t* Buf, uint32_t *Len)
{

  /* USER CODE BEGIN 6 */ // CDC_Receive_FS  is a callback function. When data were received, the system calls this function. The received data can be accessed via Buf,and *Len
    //s_RxBuffers.IsCommandDataReceived=1; //indicates data were received
    //s_RxBuffers.CommandsLens[s_RxBuffers.pos_receive]=*Len; //only set the length, data was directly saved to buffer

    //s_RxBuffers.pos_receive++;//move to next position to receive data
    //if(s_RxBuffers.pos_receive>=MaxCommandsInBuffer) //reach the last buffer, need to rewind to 0
    //{
    //    s_RxBuffers.pos_receive=0;
    //}

//prepare to receive the next data
    //USBD_CDC_SetRxBuffer(hUsbDevice_0, s_RxBuffers.UserRxBufferFS[s_RxBuffers.pos_receive]);//Set the buffer to receive incoming data
    //USBD_CDC_ReceivePacket(hUsbDevice_0);// Tell that you are ready to receive the next packet, otherwise you wouldn't be able to receive next data

     return USBD_OK;

  /* USER CODE END 6 */
}

//////////////////////////////////////////////////
//////////////////////////////////////////////////
//////////////////////////////////////////////////
//////////////////////////////////////////////////
//////////////////////////////////////////////////

/* StartDefaultTask function */
void StartDefaultTask(void const * argument)
{
  /* init code for USB_DEVICE */
  MX_USB_DEVICE_Init();

  midiConvert();

  /* USER CODE END 5 */
}

void HAL_TIM_PeriodElapsedCallback(TIM_HandleTypeDef *htim)
{
  if (htim->Instance == TIM6) {
    HAL_IncTick();
  }
}

void _Error_Handler(char * file, int line)
{
  while(1)
  {
  }
}

static void print_chr(char chr)
{
    HAL_UART_Transmit(&huart1,
    (uint8_t*)&chr, 1, 1000);
}

ssize_t _write_r(struct _reent *r, int fd, const void *ptr, size_t len)
{
    int cntr = len;
    char *pTemp = (char*)ptr;
    while(cntr--)
        print_chr(*pTemp++);
    return len;
}

char readkey(void)
{
    uint8_t rxed;
    HAL_StatusTypeDef res =
        HAL_UART_Receive(&huart1,&rxed,1,1);

    if(res == HAL_OK)
        return rxed;
    else
        return 0;
}

/************************ (C) COPYRIGHT STMicroelectronics *****END OF FILE****/
